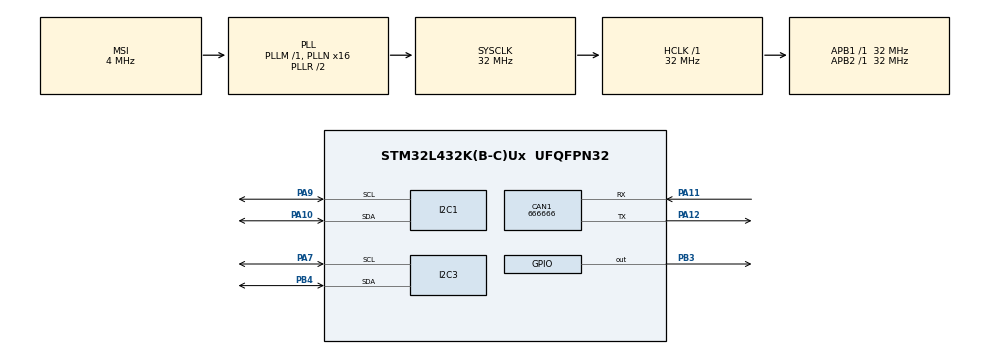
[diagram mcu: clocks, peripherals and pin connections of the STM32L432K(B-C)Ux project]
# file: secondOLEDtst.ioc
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CAN1.CalculateBaudRate=666666
CAN1.CalculateTimeBit=1500
CAN1.CalculateTimeQuantum=500.0
I2C1.Timing=0x00B07CB4
I2C3.Timing=0x00B07CB4
Mcu.Family=STM32L4
Mcu.Name=STM32L432K(B-C)Ux
Mcu.Package=UFQFPN32
NUCLEO-L432KC.LD3=true
NVIC.PriorityGroup=NVIC_PRIORITYGROUP_4
PA0.GPIO_Label=MCO [High speed clock in]
PA0.Signal=RCC_CK_IN
PA10.Mode=I2C
PA10.Signal=I2C1_SDA
PA11.Mode=CAN_Activate
PA11.Signal=CAN1_RX
PA12.Mode=CAN_Activate
PA12.Signal=CAN1_TX
PA13\ (JTMS-SWDIO).GPIO_Label=SWDIO
PA13\ (JTMS-SWDIO).Signal=SYS_JTMS-SWDIO
PA14\ (JTCK-SWCLK).GPIO_Label=SWCLK
PA14\ (JTCK-SWCLK).Signal=SYS_JTCK-SWCLK
PA15\ (JTDI).GPIO_Label=VCP_RX
PA15\ (JTDI).Signal=USART2_RX
PA2.GPIO_Label=VCP_TX
PA2.Signal=USART2_TX
PA7.Mode=I2C
PA7.Signal=I2C3_SCL
PA9.Mode=I2C
PA9.Signal=I2C1_SCL
PB3\ (JTDO-TRACESWO).Signal=GPIO_Output
PB4\ (NJTRST).Mode=I2C
PB4\ (NJTRST).Signal=I2C3_SDA
PC14-OSC32_IN\ (PC14).Signal=RCC_OSC32_IN
PC15-OSC32_OUT\ (PC15).Signal=RCC_OSC32_OUT
ProjectManager.HeapSize=0x200
ProjectManager.StackSize=0x400
ProjectManager.TargetToolchain=STM32CubeIDE
RCC.AHBFreq_Value=32000000
RCC.APB1Freq_Value=32000000
RCC.APB1TimFreq_Value=32000000
RCC.APB2Freq_Value=32000000
RCC.APB2TimFreq_Value=32000000
RCC.CortexFreq_Value=32000000
RCC.HCLKFreq_Value=32000000
RCC.HSE_VALUE=8000000
RCC.HSI16_VALUE=16000000
RCC.HSI48_VALUE=48000000
RCC.HSI_VALUE=16000000
RCC.LSE_VALUE=32768
RCC.MSI_VALUE=4000000
RCC.PLLMUL=RCC_PLLMUL_4
RCC.PLLN=16
RCC.SYSCLKFreq_VALUE=32000000
RCC.SYSCLKSource=RCC_SYSCLKSOURCE_PLLCLK
RCC.VCOOutputFreq_Value=64000000
VP_NUCLEO-L432KC_VS_BSP_COMMON.Mode=COMMON
board=NUCLEO-L432KC

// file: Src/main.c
/* USER CODE BEGIN Header */
/**
  ******************************************************************************
  * @file           : main.c
  * @brief          : Main program body
  ******************************************************************************
  * @attention
  *
  * Copyright (c) 2026 STMicroelectronics.
  * All rights reserved.
  *
  * This software is licensed under terms that can be found in the LICENSE file
  * in the root directory of this software component.
  * If no LICENSE file comes with this software, it is provided AS-IS.
  *
  ******************************************************************************
  */
/* USER CODE END Header */
#include "main.h"

/* USER CODE BEGIN Includes */
#include <stdio.h>
#include "oled_ssd1306.h"
#include "display.h"
#include "display2.h"
#include "display_test.h"
#include "main.h"
/* USER CODE END Includes */

CAN_HandleTypeDef hcan1;

I2C_HandleTypeDef hi2c1;
I2C_HandleTypeDef hi2c3;

void SystemClock_Config(void);
static void MX_GPIO_Init(void);
static void MX_I2C1_Init(void);
static void MX_CAN1_Init(void);
static void MX_I2C3_Init(void);

int main(void)
{

  /* MCU Configuration--------------------------------------------------------*/

  /* Reset of all peripherals, Initializes the Flash interface and the Systick. */
  HAL_Init();

  /* Configure the system clock */
  SystemClock_Config();

  /* Initialize all configured peripherals */
  MX_GPIO_Init();
  MX_I2C1_Init();
  MX_CAN1_Init();
  MX_I2C3_Init();
  /* USER CODE BEGIN 2 */

  /* Initialize OLED 1 on I2C1 and display MPH */
  if (OLED_Init(&hi2c1) == HAL_OK) {
      Display_DrawBackground();
      Display_DrawSpeed(75);
      OLED_Update();
  }

  HAL_Delay(500);

  /* Initialize OLED 2 on I2C3 and display percentage */
  if (OLED_Init(&hi2c3) == HAL_OK) {
      Display2_Init(&hi2c3);
      Display2_DrawPercentage(100);
      OLED_Update();
  }

  /* USER CODE END 2 */

  /* Initialize leds */
  BSP_LED_Init(LED_GREEN);

  /* Infinite loop */
  /* USER CODE BEGIN WHILE */
  while (1)
  {
      HAL_Delay(100);

    /* USER CODE END WHILE */

  }
}

void SystemClock_Config(void)
{
  RCC_OscInitTypeDef RCC_OscInitStruct = {0};
  RCC_ClkInitTypeDef RCC_ClkInitStruct = {0};

  /** Configure the main internal regulator output voltage
  */
  if (HAL_PWREx_ControlVoltageScaling(PWR_REGULATOR_VOLTAGE_SCALE1) != HAL_OK)
  {
    Error_Handler();
  }

  /** Initializes the RCC Oscillators according to the specified parameters
  * in the RCC_OscInitTypeDef structure.
  */
  RCC_OscInitStruct.OscillatorType = RCC_OSCILLATORTYPE_MSI;
  RCC_OscInitStruct.MSIState = RCC_MSI_ON;
  RCC_OscInitStruct.MSICalibrationValue = 0;
  RCC_OscInitStruct.MSIClockRange = RCC_MSIRANGE_6;
  RCC_OscInitStruct.PLL.PLLState = RCC_PLL_ON;
  RCC_OscInitStruct.PLL.PLLSource = RCC_PLLSOURCE_MSI;
  RCC_OscInitStruct.PLL.PLLM = 1;
  RCC_OscInitStruct.PLL.PLLN = 16;
  RCC_OscInitStruct.PLL.PLLP = RCC_PLLP_DIV7;
  RCC_OscInitStruct.PLL.PLLQ = RCC_PLLQ_DIV2;
  RCC_OscInitStruct.PLL.PLLR = RCC_PLLR_DIV2;
  if (HAL_RCC_OscConfig(&RCC_OscInitStruct) != HAL_OK)
  {
    Error_Handler();
  }

  /** Initializes the CPU, AHB and APB buses clocks
  */
  RCC_ClkInitStruct.ClockType = RCC_CLOCKTYPE_HCLK|RCC_CLOCKTYPE_SYSCLK
                              |RCC_CLOCKTYPE_PCLK1|RCC_CLOCKTYPE_PCLK2;
  RCC_ClkInitStruct.SYSCLKSource = RCC_SYSCLKSOURCE_PLLCLK;
  RCC_ClkInitStruct.AHBCLKDivider = RCC_SYSCLK_DIV1;
  RCC_ClkInitStruct.APB1CLKDivider = RCC_HCLK_DIV1;
  RCC_ClkInitStruct.APB2CLKDivider = RCC_HCLK_DIV1;

  if (HAL_RCC_ClockConfig(&RCC_ClkInitStruct, FLASH_LATENCY_1) != HAL_OK)
  {
    Error_Handler();
  }
}

static void MX_CAN1_Init(void)
{

  hcan1.Instance = CAN1;
  hcan1.Init.Prescaler = 16;
  hcan1.Init.Mode = CAN_MODE_NORMAL;
  hcan1.Init.SyncJumpWidth = CAN_SJW_1TQ;
  hcan1.Init.TimeSeg1 = CAN_BS1_1TQ;
  hcan1.Init.TimeSeg2 = CAN_BS2_1TQ;
  hcan1.Init.TimeTriggeredMode = DISABLE;
  hcan1.Init.AutoBusOff = DISABLE;
  hcan1.Init.AutoWakeUp = DISABLE;
  hcan1.Init.AutoRetransmission = DISABLE;
  hcan1.Init.ReceiveFifoLocked = DISABLE;
  hcan1.Init.TransmitFifoPriority = DISABLE;
  if (HAL_CAN_Init(&hcan1) != HAL_OK)
  {
    Error_Handler();
  }

}

static void MX_I2C1_Init(void)
{

  hi2c1.Instance = I2C1;
  hi2c1.Init.Timing = 0x00B07CB4;
  hi2c1.Init.OwnAddress1 = 0;
  hi2c1.Init.AddressingMode = I2C_ADDRESSINGMODE_7BIT;
  hi2c1.Init.DualAddressMode = I2C_DUALADDRESS_DISABLE;
  hi2c1.Init.OwnAddress2 = 0;
  hi2c1.Init.OwnAddress2Masks = I2C_OA2_NOMASK;
  hi2c1.Init.GeneralCallMode = I2C_GENERALCALL_DISABLE;
  hi2c1.Init.NoStretchMode = I2C_NOSTRETCH_DISABLE;
  if (HAL_I2C_Init(&hi2c1) != HAL_OK)
  {
    Error_Handler();
  }

  /** Configure Analogue filter
  */
  if (HAL_I2CEx_ConfigAnalogFilter(&hi2c1, I2C_ANALOGFILTER_ENABLE) != HAL_OK)
  {
    Error_Handler();
  }

  /** Configure Digital filter
  */
  if (HAL_I2CEx_ConfigDigitalFilter(&hi2c1, 0) != HAL_OK)
  {
    Error_Handler();
  }

}

static void MX_I2C3_Init(void)
{

  hi2c3.Instance = I2C3;
  hi2c3.Init.Timing = 0x00B07CB4;
  hi2c3.Init.OwnAddress1 = 0;
  hi2c3.Init.AddressingMode = I2C_ADDRESSINGMODE_7BIT;
  hi2c3.Init.DualAddressMode = I2C_DUALADDRESS_DISABLE;
  hi2c3.Init.OwnAddress2 = 0;
  hi2c3.Init.OwnAddress2Masks = I2C_OA2_NOMASK;
  hi2c3.Init.GeneralCallMode = I2C_GENERALCALL_DISABLE;
  hi2c3.Init.NoStretchMode = I2C_NOSTRETCH_DISABLE;
  if (HAL_I2C_Init(&hi2c3) != HAL_OK)
  {
    Error_Handler();
  }

  /** Configure Analogue filter
  */
  if (HAL_I2CEx_ConfigAnalogFilter(&hi2c3, I2C_ANALOGFILTER_ENABLE) != HAL_OK)
  {
    Error_Handler();
  }

  /** Configure Digital filter
  */
  if (HAL_I2CEx_ConfigDigitalFilter(&hi2c3, 0) != HAL_OK)
  {
    Error_Handler();
  }

}

static void MX_GPIO_Init(void)
{
  GPIO_InitTypeDef GPIO_InitStruct = {0};

  /* GPIO Ports Clock Enable */
  __HAL_RCC_GPIOC_CLK_ENABLE();
  __HAL_RCC_GPIOA_CLK_ENABLE();
  __HAL_RCC_GPIOB_CLK_ENABLE();

  /*Configure GPIO pin : VCP_TX_Pin */
  GPIO_InitStruct.Pin = VCP_TX_Pin;
  GPIO_InitStruct.Mode = GPIO_MODE_AF_PP;
  GPIO_InitStruct.Pull = GPIO_NOPULL;
  GPIO_InitStruct.Speed = GPIO_SPEED_FREQ_VERY_HIGH;
  GPIO_InitStruct.Alternate = GPIO_AF7_USART2;
  HAL_GPIO_Init(VCP_TX_GPIO_Port, &GPIO_InitStruct);

  /*Configure GPIO pin : VCP_RX_Pin */
  GPIO_InitStruct.Pin = VCP_RX_Pin;
  GPIO_InitStruct.Mode = GPIO_MODE_AF_PP;
  GPIO_InitStruct.Pull = GPIO_NOPULL;
  GPIO_InitStruct.Speed = GPIO_SPEED_FREQ_VERY_HIGH;
  GPIO_InitStruct.Alternate = GPIO_AF3_USART2;
  HAL_GPIO_Init(VCP_RX_GPIO_Port, &GPIO_InitStruct);

}

void Error_Handler(void)
{
  /* USER CODE BEGIN Error_Handler_Debug */
  /* User can add his own implementation to report the HAL error return state */
  __disable_irq();

  /* Blink the green LED (LD3, PB3) rapidly so an error is visible without
     the debugger. HAL_Delay can't be used here because interrupts are off. */
  __HAL_RCC_GPIOB_CLK_ENABLE();
  GPIO_InitTypeDef led = {0};
  led.Pin   = GPIO_PIN_3;
  led.Mode  = GPIO_MODE_OUTPUT_PP;
  led.Pull  = GPIO_NOPULL;
  led.Speed = GPIO_SPEED_FREQ_LOW;
  HAL_GPIO_Init(GPIOB, &led);

  while (1)
  {
	  HAL_GPIO_TogglePin(GPIOB, GPIO_PIN_3);
	      for (volatile uint32_t i = 0; i < 400000; i++) { }
  }
  /* USER CODE END Error_Handler_Debug */
}
